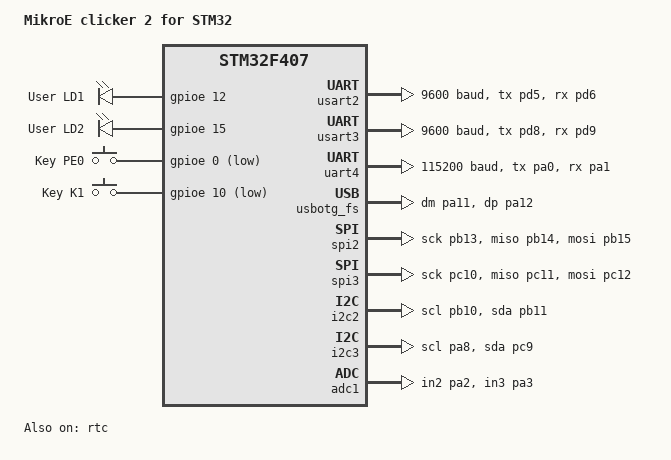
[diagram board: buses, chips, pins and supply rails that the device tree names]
/*
 * Copyright (c) 2020 Trifork
 *
 * SPDX-License-Identifier: Apache-2.0
 */

/dts-v1/;
#include <st/f4/stm32f407Xg.dtsi>
#include <st/f4/stm32f407v(e-g)tx-pinctrl.dtsi>

/ {
	model = "MikroE clicker 2 for STM32";
	compatible = "mikroe,stm32-e407", "st,stm32f407";

	chosen {
		zephyr,console = &uart4;
		zephyr,shell-uart = &uart4;
		zephyr,sram = &sram0;
		zephyr,flash = &flash0;
		zephyr,ccm = &ccm0;
	};


	leds {
		compatible = "gpio-leds";
		ld1: led_1 {
			gpios = <&gpioe 12 GPIO_ACTIVE_HIGH>;
			label = "User LD1";
		};
		ld2: led_2 {
			gpios = <&gpioe 15 GPIO_ACTIVE_HIGH>;
			label = "User LD2";
		};
	};

	gpio_keys {
		compatible = "gpio-keys";
		user_button_0: key_0 {
			label = "Key PE0";
			gpios = <&gpioe 0 GPIO_ACTIVE_LOW>;
		};
		user_button_1: key_1 {
			label = "Key K1";
			gpios = <&gpioe 10 GPIO_ACTIVE_LOW>;
		};
	};

	aliases {
		led0 = &ld1;
		led1 = &ld2;
		sw0 = &user_button_0;
		sw1 = &user_button_1;
	};
};

&usart2 {
	pinctrl-0 = <&usart2_tx_pd5 &usart2_rx_pd6>;
	current-speed = <9600>;
	status = "okay";
};

&usart3 {
	pinctrl-0 = <&usart3_tx_pd8 &usart3_rx_pd9>;
	current-speed = <9600>;
	status = "okay";
};

&uart4 {
	pinctrl-0 = <&uart4_tx_pa0 &uart4_rx_pa1>;
	current-speed = <115200>;
	status = "okay";
};

&rtc {
	status = "okay";
};

&usbotg_fs {
	pinctrl-0 = <&usb_otg_fs_dm_pa11 &usb_otg_fs_dp_pa12>;
	status = "okay";
};


&spi2 {
	pinctrl-0 = <&spi2_sck_pb13 &spi2_miso_pb14 &spi2_mosi_pb15>;
	cs-gpios = <&gpioe 11 GPIO_ACTIVE_LOW>;
	status = "okay";
};

&spi3 {
	pinctrl-0 = <&spi3_sck_pc10 &spi3_miso_pc11 &spi3_mosi_pc12>;
	cs-gpios = <&gpioe 8 GPIO_ACTIVE_LOW>;
	status = "okay";
};

&i2c2 {
	pinctrl-0 = <&i2c2_scl_pb10 &i2c2_sda_pb11>;
	status = "okay";
};

&i2c3 {
	pinctrl-0 = <&i2c3_scl_pa8 &i2c3_sda_pc9>;
	status = "okay";
};

&adc1 {
	status ="okay";
	pinctrl-0 = <&adc1_in2_pa2 &adc1_in3_pa3>;
};


mikrobus_1_i2c: &i2c3 {};

mikrobus_1_spi: &spi3 {};

mikrobus_1_uart: &usart2 {};

mikrobus_2_i2c: &i2c2 {};

mikrobus_2_spi: &spi2 {};

mikrobus_2_uart: &usart3 {};
